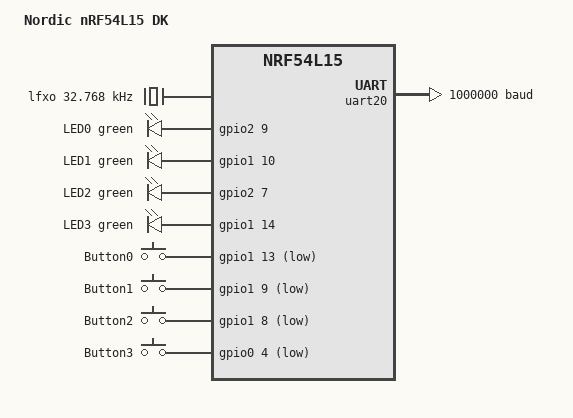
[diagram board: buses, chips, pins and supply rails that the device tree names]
// SPDX-FileCopyrightText: 2026 Core Devices LLC
// SPDX-License-Identifier: (GPL-2.0-only OR BSD-2-Clause)

/dts-v1/;

#include "nordic/nrf54l15-qfaa.dtsi"

#include <dt-bindings/gpio/gpio.h>
#include <dt-bindings/input/input.h>
#include <dt-bindings/leds/common.h>

/ {
	model = "Nordic nRF54L15 DK";
	compatible = "nordic,nrf54l15-dk", "nordic,nrf54l15";

	lfxo: clock-32768 {
		compatible = "fixed-clock";
		#clock-cells = <0>;
		clock-frequency = <32768>;
	};

	leds {
		compatible = "gpio-leds";

		led0: led-0 {
			label = "LED0";
			color = <LED_COLOR_ID_GREEN>;
			gpios = <&gpio2 9 GPIO_ACTIVE_HIGH>;
		};

		led1: led-1 {
			label = "LED1";
			color = <LED_COLOR_ID_GREEN>;
			gpios = <&gpio1 10 GPIO_ACTIVE_HIGH>;
		};

		led2: led-2 {
			label = "LED2";
			color = <LED_COLOR_ID_GREEN>;
			gpios = <&gpio2 7 GPIO_ACTIVE_HIGH>;
		};

		led3: led-3 {
			label = "LED3";
			color = <LED_COLOR_ID_GREEN>;
			gpios = <&gpio1 14 GPIO_ACTIVE_HIGH>;
		};
	};

	// Buttons 0 to 3, as the four buttons of a watch
	buttons: gpio-keys {
		compatible = "gpio-keys";

		button-0 {
			label = "Button0";
			gpios = <&gpio1 13 (GPIO_ACTIVE_LOW | GPIO_PULL_UP)>;
			linux,code = <KEY_0>;
			debounce-interval = <40>;
		};

		button-1 {
			label = "Button1";
			gpios = <&gpio1 9 (GPIO_ACTIVE_LOW | GPIO_PULL_UP)>;
			linux,code = <KEY_1>;
			debounce-interval = <40>;
		};

		button-2 {
			label = "Button2";
			gpios = <&gpio1 8 (GPIO_ACTIVE_LOW | GPIO_PULL_UP)>;
			linux,code = <KEY_2>;
			debounce-interval = <40>;
		};

		button-3 {
			label = "Button3";
			gpios = <&gpio0 4 (GPIO_ACTIVE_LOW | GPIO_PULL_UP)>;
			linux,code = <KEY_3>;
			debounce-interval = <40>;
		};
	};
};

&clock {
	clocks = <&hfxo>, <&lfxo>;
	clock-names = "hfxo", "lfxo";
	nordic,hfxo-load-capacitance-femtofarads = <15000>;
	nordic,lfxo-load-capacitance-femtofarads = <17000>;
};

&internal_flash {
	partitions {
		compatible = "fixed-partitions";
		#address-cells = <1>;
		#size-cells = <1>;

		partition@0 {
			label = "code";
			reg = <0x0 0x17d000>;
		};
	};
};

// The interface MCU's virtual COM port 0
&uart20 {
	current-speed = <1000000>;
	tx-gpios = <&gpio1 4 GPIO_ACTIVE_HIGH>;
	rx-gpios = <&gpio1 5 GPIO_ACTIVE_HIGH>;
	status = "okay";
};
